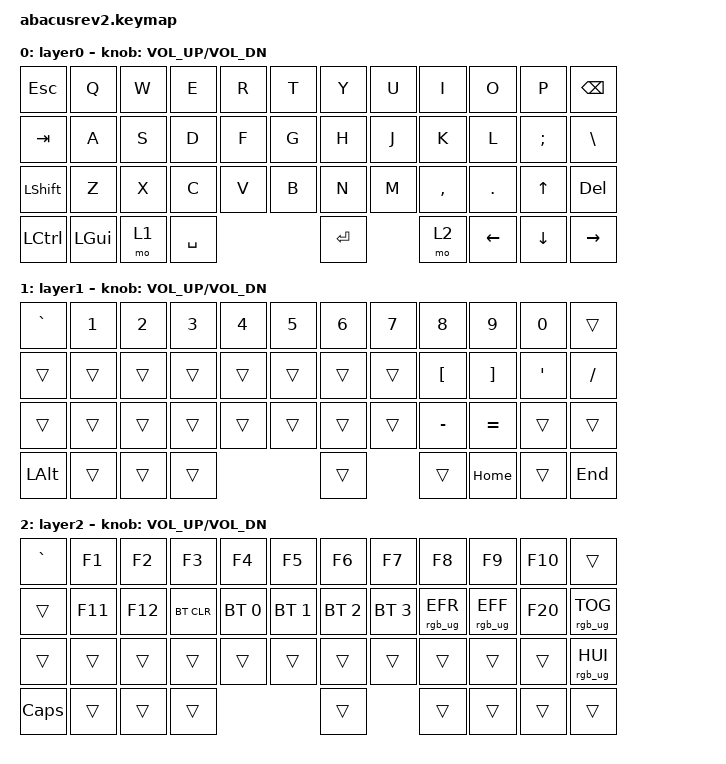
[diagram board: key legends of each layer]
#include <behaviors.dtsi>
#include <dt-bindings/zmk/bt.h>
#include <dt-bindings/zmk/keys.h>
#include <dt-bindings/zmk/rgb.h>

/ {
    keymap {
        compatible = "zmk,keymap";

        layer0 {
            bindings = <
&kp ESCAPE        &kp Q         &kp W  &kp E      &kp R  &kp T  &kp Y      &kp U  &kp I      &kp O     &kp P          &kp BACKSPACE
&kp TAB           &kp A         &kp S  &kp D      &kp F  &kp G  &kp H      &kp J  &kp K      &kp L     &kp SEMICOLON  &kp BACKSLASH
&kp LEFT_SHIFT    &kp Z         &kp X  &kp C      &kp V  &kp B  &kp N      &kp M  &kp COMMA  &kp DOT   &kp UP         &kp DELETE
&kp LEFT_CONTROL  &kp LEFT_GUI  &mo 1  &kp SPACE                &kp ENTER         &mo 2      &kp LEFT  &kp DOWN       &kp RIGHT
            >;

            sensor-bindings = <&inc_dec_kp C_VOL_UP C_VOL_DN>;
        };

        layer1 {
            bindings = <
&kp GRAVE     &kp N1  &kp N2  &kp N3  &kp N4  &kp N5  &kp N6  &kp N7  &kp N8            &kp N9             &kp N0            &trans
&trans        &trans  &trans  &trans  &trans  &trans  &trans  &trans  &kp LEFT_BRACKET  &kp RIGHT_BRACKET  &kp SINGLE_QUOTE  &kp SLASH
&trans        &trans  &trans  &trans  &trans  &trans  &trans  &trans  &kp MINUS         &kp EQUAL          &trans            &trans
&kp LEFT_ALT  &trans  &trans  &trans                  &trans          &trans            &kp HOME           &trans            &kp END
            >;

            sensor-bindings = <&inc_dec_kp C_VOL_UP C_VOL_DN>;
        };

        layer2 {
            bindings = <
&kp GRAVE     &kp F1   &kp F2   &kp F3      &kp F4        &kp F5        &kp F6        &kp F7        &kp F8           &kp F9           &kp F10  &trans
&trans        &kp F11  &kp F12  &bt BT_CLR  &bt BT_SEL 0  &bt BT_SEL 1  &bt BT_SEL 2  &bt BT_SEL 3  &rgb_ug RGB_EFR  &rgb_ug RGB_EFF  &kp F20  &rgb_ug RGB_TOG
&trans        &trans   &trans   &trans      &trans        &trans        &trans        &trans        &trans           &trans           &trans   &rgb_ug RGB_HUI
&kp CAPSLOCK  &trans   &trans   &trans                                  &trans                      &trans           &trans           &trans   &trans
            >;

            sensor-bindings = <&inc_dec_kp C_VOL_UP C_VOL_DN>;
        };
    };
};
